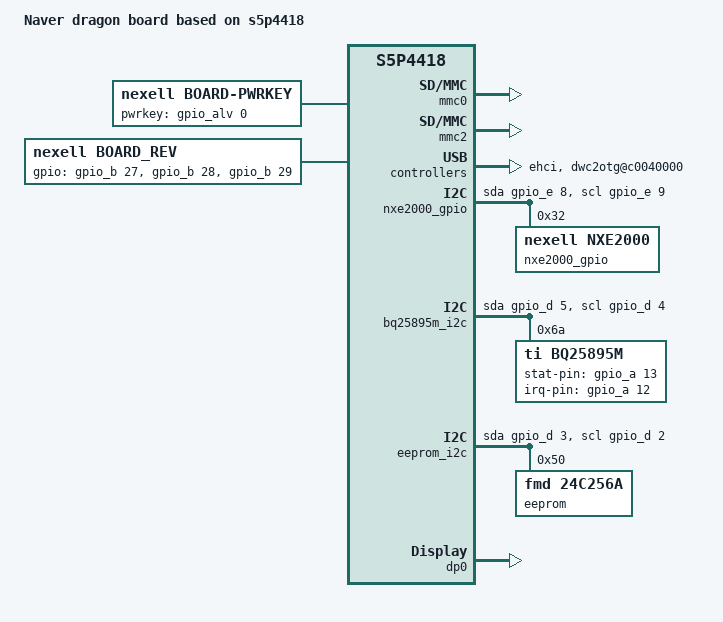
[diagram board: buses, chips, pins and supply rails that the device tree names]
/*
 * (C) Copyright 2017 Nexell
 * Sungwoo, Park <swpark@nexell.co.kr>
 *
 * SPDX-License-Identifier:      GPL-2.0+
 */

/dts-v1/;
#include "s5p4418.dtsi"
#include "s5p4418-clova-nxe2000.dtsi"

/ {
	model = "Naver dragon board based on s5p4418";
	cpu-model = "S5p4418";

	compatible = "nexell,s5p4418";

	mmc0:mmc@c0062000 {
		nexell,drive_dly = <0x00>;
		nexell,drive_shift = <0x03>;
		nexell,sample_dly = <0x00>;
		nexell,sample_shift = <0x02>;
		frequency = <50000000>;
		status = "okay";
	};

	mmc2:mmc@c0069000 {
		nexell,drive_dly = <0x00>;
		nexell,drive_shift = <0x03>;
		nexell,sample_dly = <0x00>;
		nexell,sample_shift = <0x02>;
		frequency = <50000000>;
		status = "okay";
	};

	ehci:usbhost@c0030000 {
		status = "okay";
	};

	dwc2otg@c0040000 {
		status = "okay";
	};

	nxe2000_gpio:i2c_gpio@0 {
		compatible = "i2c-gpio";
		#address-cells = <1>;
		#size-cells = <0>;
		gpios = <&gpio_e 8 1>, /* SDA */
			<&gpio_e 9 1>; /* SCL */

		i2c-gpio,delay-us = <3>;
		nxe2000_gpio@32 {
			compatible = "nexell,nxe2000";
			reg = <0x32>;
		};
	};
	bq25895m_i2c:i2c@1 {
		compatible = "i2c-gpio";
		#address-cells = <1>;
		#size-cells = <0>;
		gpios = <&gpio_d 5 0>, /* SDA */
			<&gpio_d 4 0>;   /* SCL */
		status ="okay";

	bq25895m@6a {
		compatible = "ti,bq25895m";
		reg = <0x6A>;
		stat-pin = <&gpio_a 13 0>;
		irq-pin = <&gpio_a 12 0>;
		ti,battery-regulation-voltage= <4192>; /*4.19Volt*/
		ti,charge-current = <960>;
		ti,termination-current = <50>;
		ti,precharge-current = <128>;
		ti,minimum-sys-voltage = <3600>;
		ti,boost-voltage = <4998>;

		ti,use-ilim-pin;
		};
	};
	eeprom_i2c:i2c_gpio@2 {
		compatible = "i2c-gpio";
		#address-cells = <1>;
		#size-cells = <0>;
		gpios = <&gpio_d 3 0>, /* SDA */
			<&gpio_d 2 0>;   /* SCL */
		/* i2c-gpio,delay-us = <12>; */
		status ="okay";
		eeprom {
			compatible = "fmd,24c256a";
			reg = <0x50>;
			u-boot,i2c-offset-len = <2>;
		};
	};

	board-pwrkey {
		compatible = "nexell,board-pwrkey";
		pwrkey-gpio = <&gpio_alv 0 0>;
	};

	board_rev:rev@0 {
		#address-cells = <1>;
		#size-cells = <0>;
		gpios = < &gpio_b 27 0 >,
		        < &gpio_b 28 0 >,
		        < &gpio_b 29 0 >;
		maps = < 2 0 >;
		compatible = "nexell,board_rev";
	};
};

&dp0 {
	status = "okay";
	module = <0>;
	lcd-type = "mipi";

	dp-device {
		hs_bitrate = <420>;
		lp_bitrate = <100>;
	};

	dp-sync {
		/* 67161600 */
		h_active_len = <800>;
		h_front_porch = <18>;
		h_back_porch = <18>;
		h_sync_width = <2>;
		v_active_len = <1280>;
		v_front_porch = <20>;
		v_back_porch = <10>;
		v_sync_width = <5>;
	};

	dp-ctrl {
		/* INPUT: PLL0 800MHz --> OUTPUT: 67161600 */
		/* Realclk: 800 / 12 --> 66.66666MHz */
		clk_src_lv0 = <0>;
		clk_div_lv0 = <12>;
		clk_src_lv1 = <7>;
		clk_div_lv1 = <1>;
		out_format = <3>;
		vs_start_offset = <0>;
		ev_start_offset = <0>;
		vs_end_offset = <0>;
		ev_end_offset = <0>;
	};

	dp-planes {
		layer_top {
			screen_width = <800>;
			screen_height = <1280>;
			back_color = <0x0>;
		};

		layer_1 {	/* RGB 1 */
			width = <800>;
			height = <1280>;
			format = <0x06530000>;
			pixel_byte = <4>;
		};
	};
};
